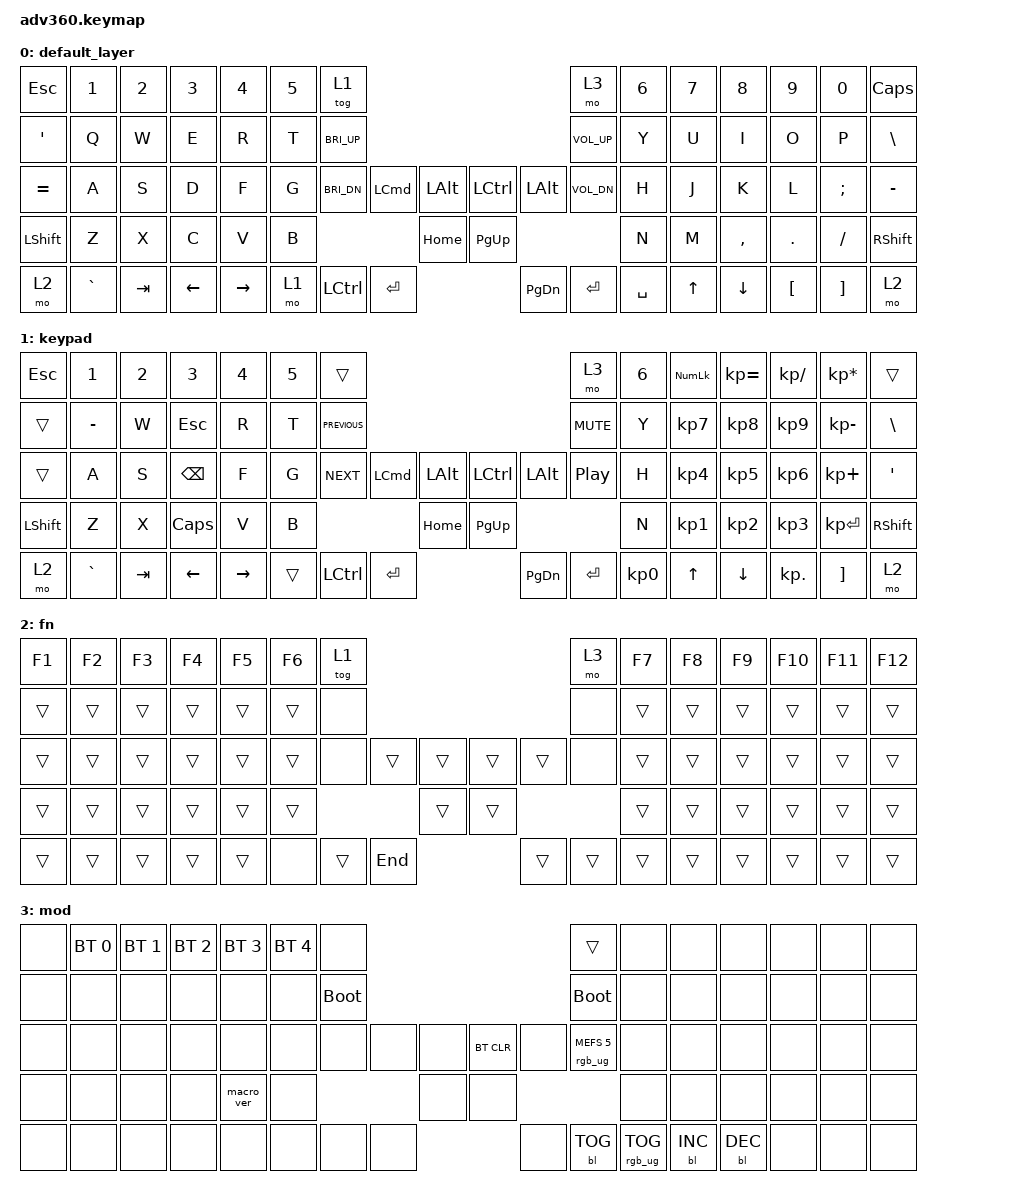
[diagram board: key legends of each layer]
#include <behaviors.dtsi>
#include <dt-bindings/zmk/keys.h>
#include <dt-bindings/zmk/bt.h>
#include <dt-bindings/zmk/rgb.h>
#include <dt-bindings/zmk/backlight.h>

/ {
    behaviors {
      #include "macros.dtsi"
      #include "version.dtsi"
      #ifndef VERSION_MACRO
      macro_ver: macro_ver {
        compatible = "zmk,behavior-macro";
        label = "macro_version";
        #binding-cells = <0>;
        bindings = <&kp RET>;
      };
      #endif

      hm: homerow_mods {
          compatible = "zmk,behavior-hold-tap";
          label = "HOMEROW_MODS";
          #binding-cells = <2>;
          tapping-term-ms = <200>;
          quick_tap_ms = <175>;
          flavor = "tap-preferred";
          bindings = <&kp>, <&kp>;
      };
    };

  keymap {
    compatible = "zmk,keymap";

    default_layer {
      bindings = <
        &kp ESC   &kp N1    &kp N2   &kp N3   &kp N4     &kp N5 &tog 1                                                                  &mo 3 &kp N6 &kp N7 &kp N8    &kp N9   &kp N0   &kp CAPS
        &kp SQT   &kp Q     &kp W    &kp E    &kp R      &kp T  &kp C_BRI_UP                                                            &kp C_VOL_UP &kp Y  &kp U  &kp I     &kp O    &kp P    &kp BSLH
        &kp EQUAL &kp A     &kp S    &kp D    &kp F      &kp G  &kp C_BRI_DN        &kp LCMD   &kp LALT  &kp LCTRL &kp LALT             &kp C_VOL_DN &kp H  &kp J  &kp K     &kp L    &kp SEMI &kp MINUS
        &kp LSHFT &kp Z     &kp X    &kp C    &kp V      &kp B                                 &kp HOME  &kp PG_UP                                   &kp N  &kp M  &kp COMMA &kp DOT  &kp FSLH &kp RSHFT
        &mo 2     &kp GRAVE &kp TAB  &kp LEFT &kp RIGHT                       &mo 1 &kp LCTRL  &kp ENTER &kp PG_DN &kp ENTER &kp SPACE                      &kp UP &kp DOWN  &kp LBKT &kp RBKT &mo 2
      >;
    };
    keypad {
      bindings = <
        &kp ESC   &kp N1    &kp N2   &kp N3    &kp N4     &kp N5 &trans                                                                    &mo 3             &kp N6 &kp KP_NUM &kp KP_EQUAL &kp KP_DIVIDE &kp KP_MULTIPLY &trans
        &trans    &kp MINUS &kp W    &kp ESC   &kp R      &kp T  &kp C_PREVIOUS                                                            &kp C_MUTE        &kp Y  &kp KP_N7  &kp KP_N8    &kp KP_N9     &kp KP_MINUS    &kp BSLH
        &trans    &kp A     &kp S    &kp BSPC  &kp F      &kp G  &kp C_NEXT           &kp LCMD &kp LALT  &kp LCTRL &kp LALT                &kp C_PLAY_PAUSE  &kp H  &kp KP_N4  &kp KP_N5    &kp KP_N6     &kp KP_PLUS     &kp SQT
        &kp LSHFT &kp Z     &kp X    &kp CAPS  &kp V      &kp B                                    &kp HOME  &kp PG_UP                                       &kp N  &kp KP_N1  &kp KP_N2    &kp KP_N3     &kp KP_ENTER    &kp RSHFT
        &mo 2     &kp GRAVE &kp TAB &kp LEFT &kp RIGHT                            &trans &kp LCTRL &kp ENTER &kp PG_DN &kp ENTER &kp KP_N0                          &kp UP     &kp DOWN     &kp KP_DOT    &kp RBKT        &mo 2
      >;
    };
    fn {
      bindings = <
        &kp F1 &kp F2 &kp F3 &kp F4 &kp F5 &kp F6 &tog 1                                            &mo 3 &kp F7 &kp F8 &kp F9 &kp F10 &kp F11 &kp F12
        &trans &trans &trans &trans &trans &trans  &none                                            &none &trans &trans &trans &trans  &trans  &trans
        &trans &trans &trans &trans &trans &trans  &none        &trans &trans  &trans &trans        &none &trans &trans &trans &trans  &trans  &trans
        &trans &trans &trans &trans &trans &trans                      &trans  &trans                     &trans &trans &trans &trans  &trans  &trans
        &trans &trans &trans &trans &trans                &none &trans &kp END &trans &trans &trans              &trans &trans &trans  &trans  &trans
      >;
    };
    mod {
      bindings = <
        &none &bt BT_SEL 0 &bt BT_SEL 1 &bt BT_SEL 2 &bt BT_SEL 3 &bt BT_SEL 4 &none                                                                     &trans                 &none        &none        &none        &none &none &none
        &none &none        &none        &none        &none        &none        &bootloader                                                               &bootloader            &none        &none        &none        &none &none &none
        &none &none        &none        &none        &none        &none        &none                   &none &none &bt BT_CLR &none                      &rgb_ug RGB_MEFS_CMD 5 &none        &none        &none        &none &none &none
        &none &none        &none        &none        &macro_ver   &none                                      &none &none                                                        &none        &none        &none        &none &none &none
        &none &none        &none        &none        &none                                       &none &none &none &none      &bl BL_TOG &rgb_ug RGB_TOG                                     &bl BL_INC   &bl BL_DEC   &none &none &none
      >;
    };
  };
};
